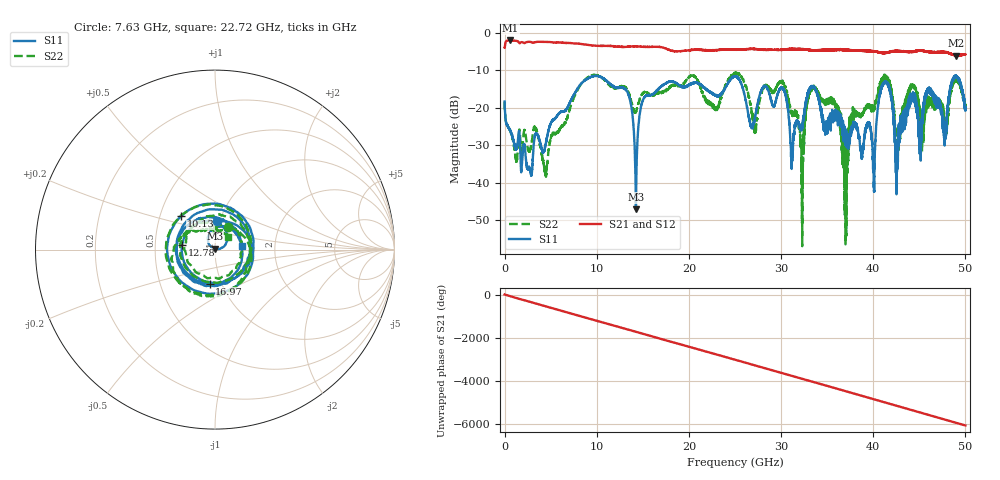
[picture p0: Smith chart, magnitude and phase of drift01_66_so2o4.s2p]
!Created with skrf (http://scikit-rf.org).
# Hz S RI R 50.0
!freq ReS11 ImS11 ReS21 ImS21 ReS12 ImS12 ReS22 ImS22
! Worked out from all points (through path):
!   10001 points, 300 kHz to 50 GHz, reference 50 ohm
!   highest |S21| = -2.00 dB at 625.3 MHz (marker M1); lowest = -6.0 dB at 48.98 GHz (marker M2)
!   group delay of S21, straight-line fit = 336 ps
!   lowest |S11| = -47.1 dB at 14.25 GHz (marker M3), VSWR 1.01, Z = 50 + j0.437 ohm
!   |S11| at or under -10 dB: start of sweep to end of sweep
!   |S22| runs from -57.0 to -10.6 dB; largest |S21 - S12| = 0.02
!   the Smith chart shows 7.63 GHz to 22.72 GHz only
!   S11 on the Smith chart (normalised r, x): 7.63 GHz: 0.98, +0.31; 10.13 GHz: 0.64, +0.26; 12.78 GHz: 0.69, +0.04; 16.97 GHz: 0.88, -0.35; 22.72 GHz: 1.35, +0.06
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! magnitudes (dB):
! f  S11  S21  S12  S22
! 300 kHz  -18.3  -4.0  -4.1  -18.3
! 625.3 MHz  -26.1  -2.0  -2.0  -26.1
! 4.445 GHz  -29.8  -2.4  -2.4  -37.8
! 7.63 GHz  -16.0  -2.8  -2.8  -16.6
! 8.335 GHz  -13.5  -2.9  -3.0  -13.5
! 10.13 GHz  -11.5  -3.4  -3.4  -11.4
! 12.78 GHz  -14.7  -3.8  -3.7  -14.3
! 14.25 GHz  -47.1  -3.6  -3.6  -21.1
! 16.67 GHz  -14.9  -3.7  -3.7  -15.9
! 16.97 GHz  -14.3  -3.8  -3.8  -15.6
! 22.72 GHz  -16.5  -4.6  -4.6  -19.8
! 25 GHz  -11.5  -4.5  -4.5  -10.9
! 27.17 GHz  -22.6  -4.3  -4.3  -26.0
! 30.22 GHz  -14.9  -4.5  -4.5  -13.4
! 32.28 GHz  -25.2  -4.3  -4.3  -49.2
! 33.34 GHz  -14.1  -4.6  -4.6  -14.6
! 36.99 GHz  -27.6  -4.4  -4.5  -56.5
! 40.05 GHz  -39.0  -4.9  -4.9  -19.7
! 41.67 GHz  -14.0  -5.1  -5.1  -12.9
! 42.59 GHz  -32.7  -4.8  -4.9  -32.4
! 48.98 GHz  -11.4  -6.0  -6.0  -12.6
! 50 GHz  -20.0  -5.8  -5.8  -19.4
